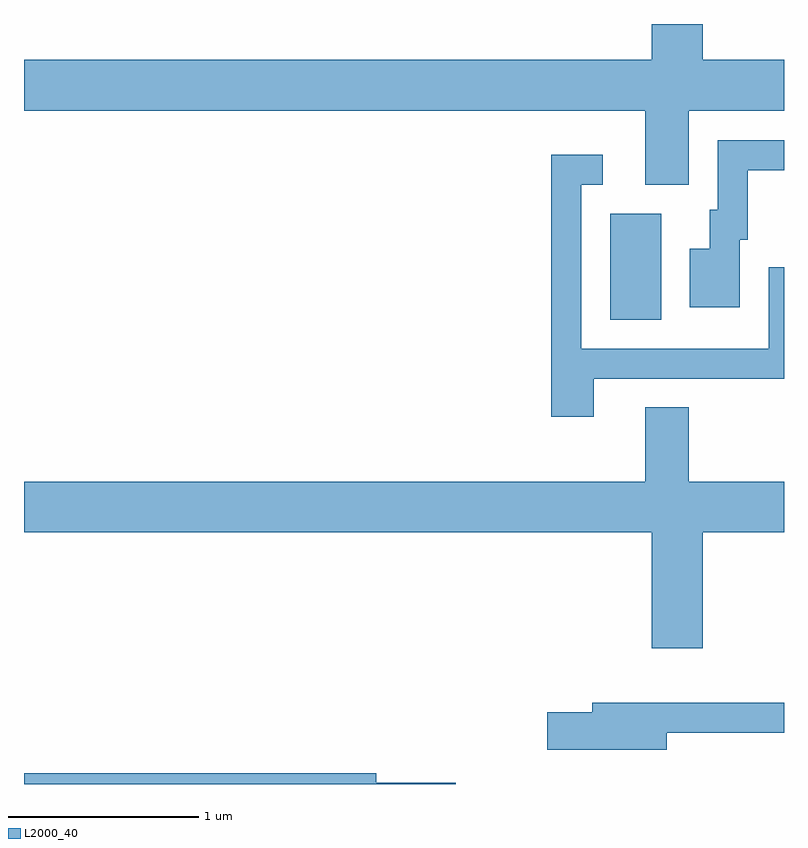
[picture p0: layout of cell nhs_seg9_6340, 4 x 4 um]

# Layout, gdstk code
import gdstk
lib = gdstk.Library(unit=1e-6, precision=1e-09)
def R(c, l, rs):  # rectangles x0, y0, x1, y1
    for r in rs: c.add(gdstk.rectangle(r[:2], r[2:], *l))
def P(c, l, *ps):  # polygons
    for p in ps: c.add(gdstk.Polygon(p, *l))
L2000_40 = (2000, 40)

nhs_seg9_6340 = lib.new_cell('nhs_seg9_6340')
R(nhs_seg9_6340, L2000_40, [(374.696,2052.876,374.964,2053.434)])
P(nhs_seg9_6340, L2000_40, [(375.109,2053.976),(375.611,2053.976),(375.611,2054.244),(375.184,2054.244),(375.184,2054.432),(374.916,2054.432),(374.916,2054.244),(371.611,2054.244),(371.611,2053.976),(374.881,2053.976),(374.881,2053.586),(375.109,2053.586)],
  [(375.379,2053.296),(375.419,2053.296),(375.419,2053.661),(375.611,2053.661),(375.611,2053.819),(375.261,2053.819),(375.261,2053.454),(375.221,2053.454),(375.221,2053.249),(375.116,2053.249),(375.116,2052.941),(375.379,2052.941)],
  [(374.609,2052.566),(375.611,2052.566),(375.611,2053.153),(375.531,2053.153),(375.531,2052.724),(374.544,2052.724),(374.544,2053.586),(374.658,2053.586),(374.658,2053.744),(374.386,2053.744),(374.386,2052.366),(374.609,2052.366)],
  [(375.184,2051.756),(375.611,2051.756),(375.611,2052.024),(375.109,2052.024),(375.109,2052.414),(374.881,2052.414),(374.881,2052.024),(371.611,2052.024),(371.611,2051.756),(374.916,2051.756),(374.916,2051.146),(375.184,2051.146)],
  [(374.994,2050.701),(375.611,2050.701),(375.611,2050.859),(374.601,2050.859),(374.601,2050.809),(374.366,2050.809),(374.366,2050.611),(374.994,2050.611)],
  [(373.884,2050.439),(373.464,2050.439),(373.464,2050.489),(371.611,2050.489),(371.611,2050.432),(373.884,2050.432)])

lib.write_gds('nhs_seg9_6340.gds')
